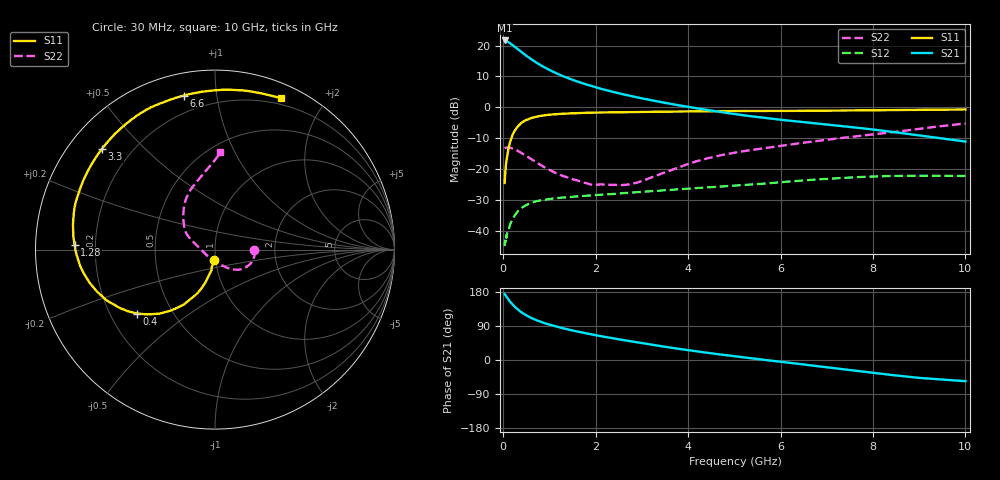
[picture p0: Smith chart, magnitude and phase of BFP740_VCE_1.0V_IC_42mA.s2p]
! Infineon Technologies  Discrete & RF Semiconductors
! BFP740
! VCE =  1.0 V,  IC =  42 mA
! Common Emitter S-Parameters:  Jan 2016
# GHz  S  MA  R  50
!  f  S11  S21  S12  S22
! GHz  MAG  ANG  MAG  ANG  MAG  ANG  MAG  ANG
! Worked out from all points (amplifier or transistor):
!   229 points, 30 MHz to 10 GHz, reference 50 ohm
!   highest |S21| = 21.6 dB at 30 MHz (marker M1)
!   |S21| within 3 dB of that: start of sweep to 330.3 MHz
!   unconditionally stable (mu >= 1): start of sweep to end of sweep
!   at 280 MHz: K = 2.20, MAG = 20.7 dB, |S12| = -34.4 dB
!   at 1.78 GHz: K = 1.95, MAG = 12.5 dB, |S12| = -28.7 dB
!   at 10 GHz: K = 2.87, MAG = -1.9 dB, |S12| = -22.3 dB
!   S11 on the Smith chart (normalised r, x): 30 MHz: 0.98, -0.12; 400 MHz: 0.31, -0.33; 1.28 GHz: 0.12, +0.02; 3.3 GHz: 0.10, +0.38; 6.6 GHz: 0.11, +0.81; 10 GHz: 0.14, +1.52
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0.03  0.0592 -96.2  12.09 174.3  0.0056 21.5  0.2181 -1.1
0.06  0.118 -99.5  11.9 168.5  0.0083 29.4  0.2206 -4.6
0.12  0.2247 -108.9  11.28 158.2  0.0105 41.3  0.2214 -10.7
0.15  0.2754 -113.3  10.88 153.6  0.0127 47.4  0.2201 -13.9
0.2  0.352 -119.6  10.22 146.6  0.0152 47.7  0.2155 -19.4
0.3  0.473 -131.0  8.919 134.9  0.0199 43.8  0.1999 -28.8
0.4  0.5614 -140.6  7.785 125.4  0.0234 41.2  0.1809 -37.3
0.52  0.6305 -149.9  6.664 116.5  0.0264 35.9  0.1587 -44.8
0.6  0.667 -154.9  6.037 111.3  0.0282 34.2  0.1457 -49.4
0.72  0.7029 -161.5  5.275 105.0  0.03 30.7  0.1275 -54.6
0.82  0.7267 -166.2  4.753 100.3  0.0311 28.9  0.115 -58.7
1  0.7571 -173.2  4.019 93.1  0.0325 26.1  0.0963 -65.9
1.28  0.7832 178.1  3.22 84.0  0.0344 23.8  0.0775 -76.6
1.7  0.8086 167.5  2.469 72.7  0.0365 21.8  0.0609 -93.3
2.3  0.8251 155.4  1.83 58.8  0.039 20.7  0.0551 -124.8
3.3  0.8431 138.2  1.259 38.6  0.0439 19.4  0.0771 -178.7
3.4  0.8455 136.6  1.217 36.8  0.0446 19.2  0.0827 177.9
5.1  0.8679 115.2  0.758 8.3  0.0542 15.4  0.1885 149.5
6.6  0.8752 101.5  0.562 -13.4  0.066 9.0  0.2723 130.3
6.8  0.8779 99.4  0.543 -16.2  0.0676 7.7  0.2844 127.8
8.4  0.9002 80.2  0.4 -39.5  0.0768 -5.4  0.3914 105.1
10  0.9204 66.4  0.278 -55.8  0.0771 -16.2  0.5438 86.8
